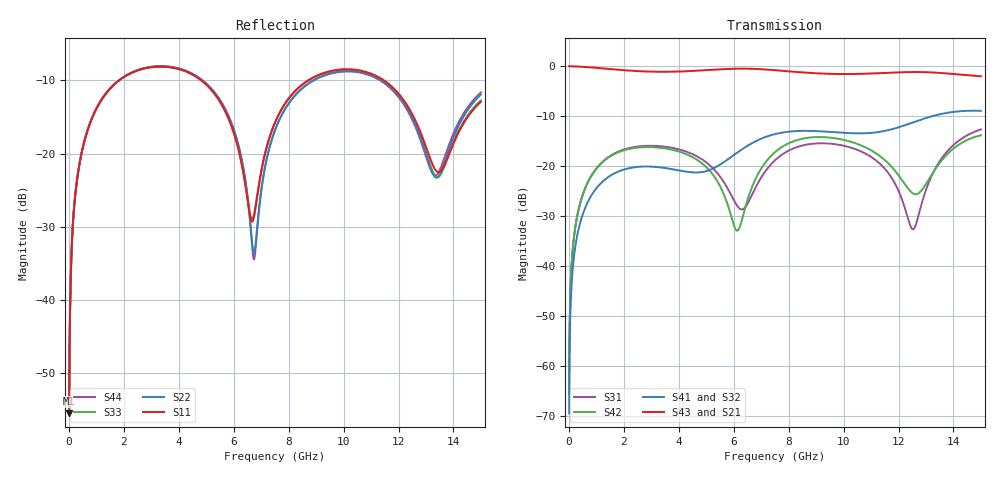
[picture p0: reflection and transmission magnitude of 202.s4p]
! Created with skrf 1.8.0 (http://scikit-rf.org).
# GHz S RI R 50.0
!freq ReS11 ImS11 ReS12 ImS12 ReS13 ImS13
! ReS14 ImS14
! ReS21 ImS21 ReS22 ImS22 ReS23 ImS23
! ReS24 ImS24
! ReS31 ImS31 ReS32 ImS32 ReS33 ImS33
! ReS34 ImS34
! ReS41 ImS41 ReS42 ImS42 ReS43 ImS43
! ReS44 ImS44
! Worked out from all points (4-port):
!   2499 points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, 5 MHz to 15 GHz, reference 50 ohm
!   strongest paths, dB at 5 MHz, 3.476 GHz, 7.19 GHz, 11.1 GHz, 15 GHz:
!     S43: 0.0, -1.1, -0.7, -1.5, -2.0
!     S21: 0.0, -1.1, -0.7, -1.5, -2.0
!     S41: -69.4, -20.3, -14.1, -13.3, -8.9
!     S32: -69.4, -20.3, -14.1, -13.3, -8.9
!     S42: -65.4, -16.4, -19.0, -17.1, -13.8
!     S31: -65.4, -16.1, -20.7, -18.5, -12.7
!   lowest |S11| = -55.5 dB at 5 MHz (marker M1), VSWR 1.00, Z = 50.1 + j0.102 ohm
!   |S11| at or under -10 dB: start of sweep to 1.827 GHz; 4.821 GHz to 8.717 GHz (3.896 GHz wide, 57.6 % of centre); 11.47 GHz to end of sweep
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0.005  0.00134 0.00102  0.9986 -0.00261  6.66e-05 0.000533  -6.47e-05 -0.000333
       0.9986 -0.00261  0.00134 0.00102  -6.47e-05 -0.000333  6.65e-05 0.000533
       6.66e-05 0.000533  -6.47e-05 -0.000333  0.00134 0.00102  0.9986 -0.00261
       -6.47e-05 -0.000333  6.65e-05 0.000533  0.9986 -0.00261  0.00134 0.00102
0.4126719  0.0261 0.0874  0.9638 -0.2131  0.0128 0.0413  -0.0104 -0.0255
           0.9638 -0.2131  0.0262 0.0874  -0.0104 -0.0255  0.0122 0.0414
           0.0128 0.0413  -0.0104 -0.0255  0.0261 0.0874  0.9638 -0.2131
           -0.0104 -0.0255  0.0122 0.0414  0.9638 -0.2131  0.0262 0.0874
1.925802  0.273 0.1786  0.5402 -0.7363  0.1333 0.0556  -0.0911 -0.00456
          0.5402 -0.7363  0.2754 0.177  -0.0911 -0.00455  0.1264 0.0652
          0.1333 0.0556  -0.0911 -0.00455  0.2729 0.1786  0.5402 -0.7363
          -0.0911 -0.00456  0.1264 0.0652  0.5402 -0.7363  0.2753 0.1769
6.659025  0.0342 -0.00324  -0.9363 -0.0789  -0.0287 0.0426  -0.0103 0.1691
          -0.9363 -0.0789  0.0204 -0.0159  -0.01 0.169  0.0336 0.0512
          -0.0287 0.0426  -0.01 0.169  0.0358 -0.00263  -0.9363 -0.0791
          -0.0103 0.1691  0.0336 0.0512  -0.9363 -0.0791  0.0187 -0.0155
10.74823  0.3532 -0.0871  0.1341 0.8269  0.1073 -0.0832  0.1946 -0.0871
          0.1341 0.8269  0.3463 -0.0778  0.1942 -0.0865  0.1057 -0.1153
          0.1073 -0.0832  0.1942 -0.0865  0.3496 -0.0902  0.1336 0.8283
          0.1946 -0.0871  0.1057 -0.1153  0.1336 0.8283  0.3439 -0.0726
12.53022  0.125 -0.1313  0.7257 0.4828  -0.0232 -0.00324  0.1464 -0.2317
          0.7257 0.4828  0.1186 -0.1229  0.1472 -0.2314  -0.0491 -0.021
          -0.0232 -0.00324  0.1472 -0.2314  0.1178 -0.1285  0.7268 0.4831
          0.1464 -0.2317  -0.0491 -0.021  0.7268 0.4831  0.1189 -0.1149
15  0.2006 0.1036  0.6651 -0.4323  0.2196 0.0782  -0.247 -0.2589
    0.6651 -0.4323  0.2196 0.1257  -0.2476 -0.2597  0.1664 0.1174
    0.2196 0.0782  -0.2476 -0.2597  0.2023 0.1118  0.664 -0.4308
    -0.247 -0.2589  0.1664 0.1174  0.664 -0.4308  0.2263 0.1307
